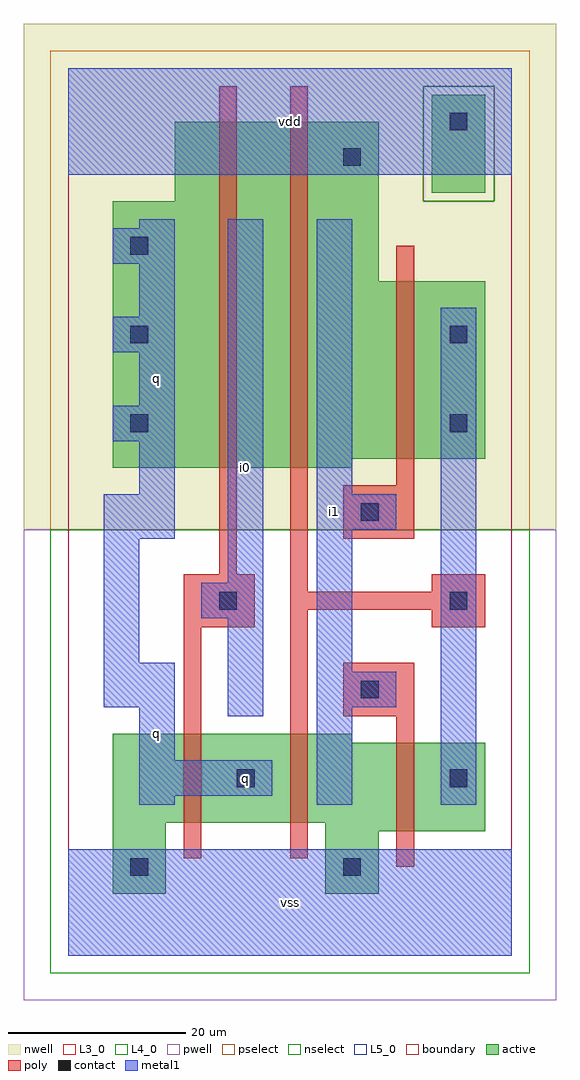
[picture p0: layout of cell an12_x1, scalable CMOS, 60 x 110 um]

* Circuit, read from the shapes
.subckt an12_x1 i0 i1 q vdd vss
M1 q i0 vss VSUBS nfet w=10u l=2u
M2 vss n1 q VSUBS nfet w=10u l=2u
M3 n1 i1 vss VSUBS nfet w=10u l=2u
M4 n2 i0 q vdd pfet w=39u l=2u
M5 vdd n1 n2 vdd pfet w=39u l=2u
M6 n1 i1 vdd vdd pfet w=20u l=2u
.ends

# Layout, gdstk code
import gdstk
lib = gdstk.Library(unit=1e-6, precision=1e-09)
def R(c, l, rs):  # rectangles x0, y0, x1, y1
    for r in rs: c.add(gdstk.rectangle(r[:2], r[2:], *l))
def A(c, l, x, y, w, h, nx, ny, dx, dy):  # array of equal rectangles
    R(c, l, [(x+i*dx, y+j*dy, x+i*dx+w, y+j*dy+h) for i in range(nx) for j in range(ny)])
L3_0 = (3, 0)
L4_0 = (4, 0)
L5_0 = (5, 0)
contact = (25, 0)
pwell = (41, 0)
nwell = (42, 0)
active = (43, 0)
pselect = (44, 0)
nselect = (45, 0)
poly = (46, 0)
metal1 = (49, 0)
boundary = (63, 0)

an12_x1 = lib.new_cell('an12_x1')
R(an12_x1, L3_0, [(5,7,11,15), (29,7,35,14), (29,14,47,15), (5,15,47,24), (5,24,32,25)])
R(an12_x1, L4_0, [(5,55,32,56), (5,56,47,76), (5,76,35,85), (12,85,35,94)])
R(an12_x1, L5_0, [(41,86,47,97)])
A(an12_x1, contact, 43, 19, 2, 2, 1, 3, 0, 20)
A(an12_x1, contact, 7, 59, 2, 2, 1, 3, 0, 10)
R(an12_x1, contact, [(7,9,9,11), (31,9,33,11), (19,19,21,21), (33,29,35,31), (17,39,19,41), (33,49,35,51), (43,69,45,71), (31,89,33,91), (43,93,45,95)])
R(an12_x1, pwell, [(-5,-5,55,48)])
R(an12_x1, nwell, [(-5,48,55,105)])
R(an12_x1, active, [(5,7,11,15), (29,7,35,14), (29,14,47,15), (5,15,47,24), (5,24,32,25), (5,55,32,56), (5,56,47,76), (5,76,35,85), (12,85,35,94), (41,86,47,97)])
R(an12_x1, pselect, [(-2,48,52,85), (-2,85,40,98), (48,85,52,98), (-2,98,52,102)])
R(an12_x1, nselect, [(-2,-2,52,48), (40,85,48,98)])
R(an12_x1, poly, [(37,10,39,27), (13,11,15,37), (25,11,27,39), (31,27,39,33), (13,37,21,43), (41,37,47,39), (25,39,47,41), (25,41,27,98), (41,41,47,43), (17,43,19,98), (31,47,39,53), (37,53,39,80)])
A(an12_x1, metal1, 8, 52, 4, 6, 1, 3, 0, 10)
A(an12_x1, metal1, 5, 58, 7, 4, 1, 3, 0, 10)
R(an12_x1, metal1, [(0,0,50,12), (8,17,12,18), (28,17,32,28), (42,17,46,73), (8,18,23,22), (8,22,12,28), (18,27,22,38), (4,28,12,33), (28,28,37,32), (28,32,32,48), (4,33,8,47), (15,38,22,42), (18,42,22,83), (4,47,12,52), (28,48,37,52), (28,52,32,83), (8,82,12,83), (0,88,50,100)])
R(an12_x1, boundary, [(0,0,50,100)])
an12_x1.add(gdstk.Label('q', (20,20), layer=49, texttype=0))
an12_x1.add(gdstk.Label('q', (10,25), layer=49, texttype=0))
an12_x1.add(gdstk.Label('q', (10,65), layer=49, texttype=0))
an12_x1.add(gdstk.Label('i0', (20,55), layer=49, texttype=0))
an12_x1.add(gdstk.Label('vss', (25,6), layer=49, texttype=0))
an12_x1.add(gdstk.Label('i1', (30,50), layer=49, texttype=0))
an12_x1.add(gdstk.Label('vdd', (25,94), layer=49, texttype=0))

lib.write_gds('an12_x1.gds')
